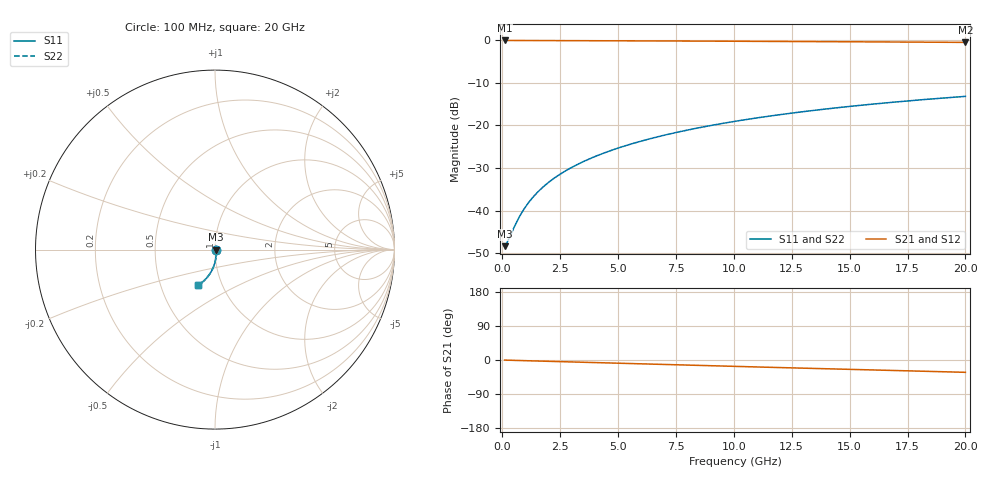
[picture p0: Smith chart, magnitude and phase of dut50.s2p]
! Touchstone file exported from HFSS 2026.1.0
!  File:  C:/ffzhzh/LocalFiles/Ansys_Project_Files/temp_train_BSMRDL_50_1782882519_42304.aedt
!  Generated:  01:09:45 PM Jul  1, 2026
!  Design:  BSMRDL
!  Project:  temp_train_BSMRDL_50_1782882519_42304
! Variables:
!  h_bsmrdl = 3.88um
!  h_ox = 20um
!  h_rdl = 5um
!  h_sub = 80um
!  h_tmrdl = 5um
!  h_tsv = 80um
!  h_via = 3um
!  l_bsmrdl = 521.41um
!  l_sub = 921.41um
!  l_tmrdl = 200um
!  m_sub = 200um
!  pitch = 14.39um
!  r_tsv = 6um
!  s_tmrdl = 10um
!  w_bsmrdl = 13.09um
!  w_sub = 500um
!  w_tmrdl = 12um
!  x_tsv_center1 = 206um
!  x_tsv_center2 = 740.5um
!  x_tsv_center3 = 952.5um
!  x_tsv_center4 = 1487um
!  x_tsv_center5 = 1699um
!  x_tsv_center6 = 2233.5um
# GHz S MA R 50.000000
! Terminal data exported
! Port[1] = BSM_RDL1_1_T1
! Port[2] = BSM_RDL1_1_T2
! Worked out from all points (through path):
!   200 points, 100 MHz to 20 GHz, reference 50 ohm
!   highest |S21| = -0.03 dB at 100 MHz (marker M1); lowest = -0.5 dB at 20 GHz (marker M2)
!   group delay of S21, straight-line fit = 4.5 ps
!   lowest |S11| = -48.4 dB at 100 MHz (marker M3), VSWR 1.01, Z = 50.4 - j0.0443 ohm
!   |S11| at or under -10 dB: start of sweep to end of sweep
!   |S22| runs from -48.4 to -13.2 dB; largest |S21 - S12| = 3e-15
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0.1  0.003821 -6.6  0.9962 -0.2  0.9962 -0.2  0.003821 -6.6
! Gamma 0 0 0 0
! Port Impedance 50 0 50 0
0.2  0.004189 -13.4  0.9959 -0.4  0.9959 -0.4  0.004189 -13.4
0.3  0.004753 -20.4  0.9955 -0.6  0.9955 -0.6  0.004753 -20.4
0.6  0.007154 -38.7  0.9943 -1.1  0.9943 -1.1  0.007154 -38.7
0.8  0.009045 -47.7  0.9937 -1.5  0.9937 -1.5  0.009045 -47.7
0.9  0.01003 -51.4  0.9935 -1.7  0.9935 -1.7  0.01003 -51.4
1.1  0.01205 -57.3  0.9931 -2.0  0.9931 -2.0  0.01205 -57.3
1.4  0.01514 -63.8  0.9926 -2.5  0.9926 -2.5  0.01514 -63.8
1.8  0.01934 -69.7  0.9921 -3.2  0.9921 -3.2  0.01934 -69.7
2.3  0.02465 -74.6  0.9915 -4.0  0.9915 -4.0  0.02465 -74.6
2.9  0.03111 -78.6  0.9907 -5.0  0.9907 -5.0  0.03111 -78.6
3.5  0.03763 -81.5  0.9898 -6.1  0.9898 -6.1  0.03763 -81.5
4.2  0.04533 -84.1  0.9887 -7.2  0.9887 -7.2  0.04533 -84.1
5  0.05423 -86.5  0.9872 -8.6  0.9872 -8.6  0.05423 -86.5
5.9  0.06436 -88.9  0.9854 -10.1  0.9854 -10.1  0.06436 -88.9
6.8  0.07459 -91.0  0.9834 -11.6  0.9834 -11.6  0.07459 -91.0
8.4  0.09291 -94.4  0.9796 -14.2  0.9796 -14.2  0.09291 -94.4
10.1  0.1124 -97.7  0.9753 -17.0  0.9753 -17.0  0.1124 -97.7
11.7  0.1306 -100.8  0.971 -19.5  0.971 -19.5  0.1306 -100.8
13.4  0.1497 -103.9  0.9662 -22.2  0.9662 -22.2  0.1497 -103.9
16.7  0.1856 -109.8  0.9563 -27.4  0.9563 -27.4  0.1856 -109.7
20  0.2195 -115.3  0.9457 -32.5  0.9457 -32.5  0.2195 -115.3
